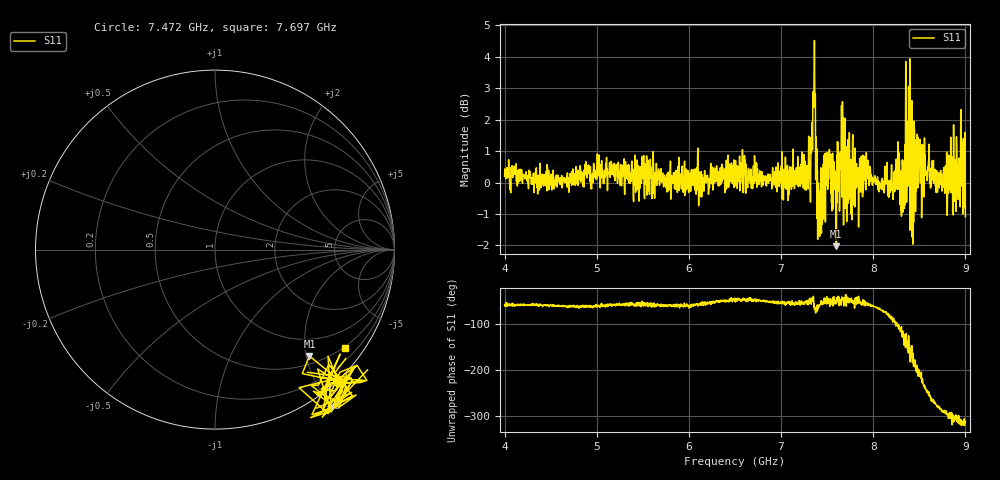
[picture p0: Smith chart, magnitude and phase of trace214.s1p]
! Created with skrf 1.8.0 (http://scikit-rf.org).
# Hz S RI R 50.0
!freq ReS11 ImS11
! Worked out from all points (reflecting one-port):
!   1601 points, 4 GHz to 9 GHz, reference 50 ohm
!   lowest |S11| = -2.0 dB at 7.6 GHz (marker M1), VSWR 8.63, Z = 32.4 - j103 ohm
!   phase of S11 starts at -57 deg and turns -256 deg over the sweep
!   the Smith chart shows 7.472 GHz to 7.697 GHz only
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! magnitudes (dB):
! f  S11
! 4 GHz  0.2
! 4.625 GHz  -0.2
! 5.25 GHz  0.0
! 5.875 GHz  -0.3
! 6.5 GHz  0.4
! 7.125 GHz  -0.1
! 7.294 GHz  -0.2
! 7.316 GHz  -0.1
! 7.347 GHz  2.9
! 7.369 GHz  2.7
! 7.4 GHz  -0.6
! 7.422 GHz  -0.5
! 7.512 GHz  0.9
! 7.575 GHz  -0.2
! 7.6 GHz  -2.0
! 7.669 GHz  1.4
! 7.703 GHz  0.4
! 7.75 GHz  -0.5
! 7.922 GHz  0.0
! 8.169 GHz  -0.5
! 8.259 GHz  0.1
! 8.312 GHz  0.1
! 8.375 GHz  1.1
! 8.425 GHz  -1.1
! 8.497 GHz  1.2
! 8.781 GHz  0.0
! 8.972 GHz  0.6
! 9 GHz  -1.1
